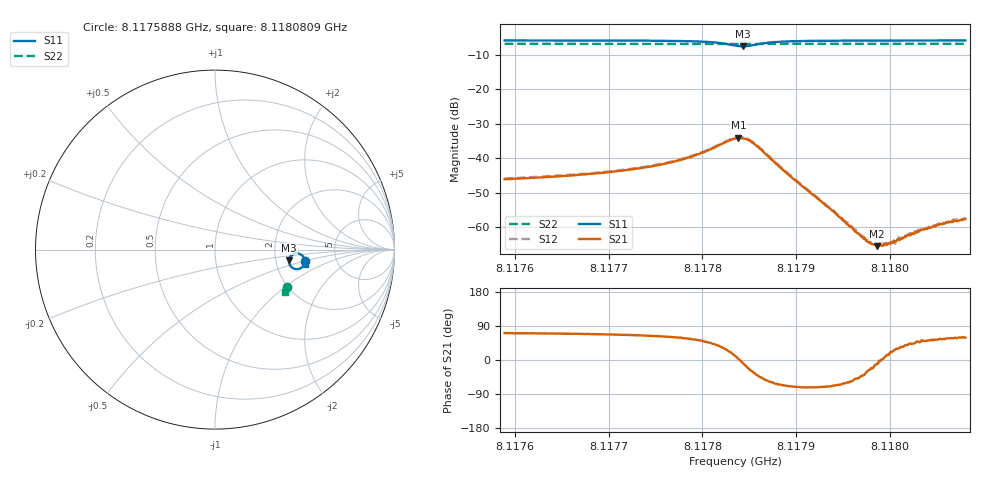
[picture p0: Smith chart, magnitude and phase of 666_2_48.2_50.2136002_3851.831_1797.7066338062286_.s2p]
#  HZ  S  RI  R  50.00
! Rohde & Schwarz Vector Network Analyzer
! Rohde-Schwarz,ZNB20-2Port,1311601062101988,3.16
! Created: UTC 3/20/2024, 12:05:56 PM
! freq[Hz]  re:S11  im:S11  re:S21  im:S21  re:S12  im:S12  re:S22  im:S22
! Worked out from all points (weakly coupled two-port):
!   401 points, 8.1175888 GHz to 8.1180809 GHz, reference 50 ohm
!   highest |S21| = -34.12 dB at 8.1178386 GHz (marker M1); lowest = -65.5 dB at 8.1179862 GHz (marker M2)
!   lowest |S11| = -7.6 dB at 8.1178435 GHz (marker M3), VSWR 2.43, Z = 118 - j16.9 ohm
!   |S11| at or under -10 dB: nowhere
!   |S22| runs from -6.9 to -6.9 dB; largest |S21 - S12| = 0.00074
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8.11758883e9  0.5029 -0.0623  0.00161 0.00469  0.00167 0.00476  0.4027 -0.2072
8.11767126e9  0.5005 -0.0724  0.00209 0.0054  0.00215 0.0055  0.4001 -0.2126
8.11770694e9  0.4987 -0.0778  0.00251 0.00589  0.00257 0.00606  0.3991 -0.2148
8.11775369e9  0.4937 -0.0877  0.00366 0.00708  0.00375 0.00719  0.3972 -0.218
8.1177906e9  0.4824 -0.1001  0.00625 0.00871  0.00643 0.00893  0.3955 -0.2205
8.11782013e9  0.45 -0.1087  0.0131 0.00905  0.0133 0.00909  0.3931 -0.2222
8.11783489e9  0.4188 -0.0888  0.0188 0.00368  0.0192 0.00375  0.3917 -0.222
8.11783858e9  0.4135 -0.0772  0.0197 0.00099  0.02 0.00102  0.3913 -0.2216
8.1178435e9  0.4123 -0.0591  0.0191 -0.00293  0.0197 -0.00292  0.3915 -0.221
8.11784965e9  0.4211 -0.0381  0.0167 -0.00701  0.0171 -0.00711  0.3917 -0.2208
8.11785826e9  0.4436 -0.0231  0.0114 -0.00955  0.0119 -0.00975  0.3927 -0.2208
8.11788041e9  0.4825 -0.0303  0.00351 -0.00714  0.00364 -0.00731  0.3937 -0.2229
8.11791732e9  0.4976 -0.0509  0.000919 -0.00287  0.000899 -0.00289  0.393 -0.2262
8.11797268e9  0.5007 -0.0661  0.00052 -0.000428  0.000556 -0.000457  0.3911 -0.2301
8.11798006e9  0.5007 -0.0676  0.00053 -0.00021  0.000532 -0.000251  0.3908 -0.2305
8.11798622e9  0.5007 -0.0686  0.000521 -9.24e-05  0.000543 -7.49e-05  0.3906 -0.2309
8.11799975e9  0.5008 -0.0709  0.000556 0.000169  0.00054 0.000173  0.3901 -0.2319
8.11800467e9  0.5008 -0.0717  0.000578 0.000278  0.000569 0.000222  0.39 -0.2321
8.11801205e9  0.5007 -0.0728  0.000558 0.000389  0.000604 0.000356  0.3898 -0.2327
8.11803297e9  0.5004 -0.0758  0.000617 0.000677  0.00059 0.000688  0.3889 -0.2338
8.11804527e9  0.5004 -0.0773  0.000597 0.000816  0.000645 0.000827  0.3887 -0.2348
8.11808095e9  0.5001 -0.0815  0.000677 0.00112  0.000694 0.00117  0.3873 -0.237
